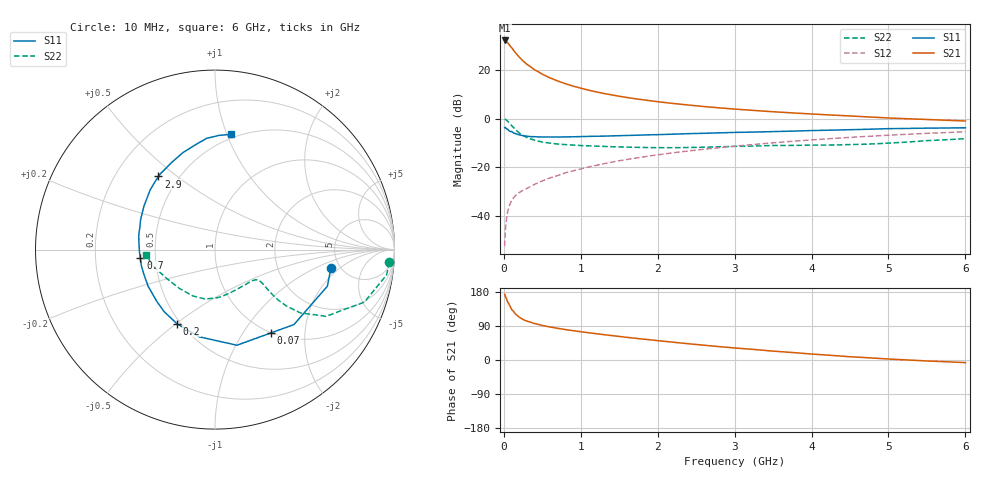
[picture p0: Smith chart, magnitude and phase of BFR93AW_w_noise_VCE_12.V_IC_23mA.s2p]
! (c) 2017  Infineon Technologies AG, Munich
! Infineon Technologies  Discrete & RF Semiconductors
! BFR93AW
! VCE =  12. V,  IC =  23 mA
! Common Emitter S-Parameters:  Jan 2017
# GHz  S  MA  R  50
!  f  S11  S21  S12  S22
! GHz  MAG  ANG  MAG  ANG  MAG  ANG  MAG  ANG
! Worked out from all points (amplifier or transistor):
!   77 points, 10 MHz to 6 GHz, reference 50 ohm
!   highest |S21| = 32.1 dB at 10 MHz (marker M1)
!   |S21| within 3 dB of that: start of sweep to 102.2 MHz
!   unconditionally stable (mu >= 1): 673.8 MHz to 2.094 GHz
!   at 130 MHz: K = 0.45, MSG = 30.2 dB, |S12| = -32.4 dB
!   at 2.2 GHz: K = 0.99, MSG = 10.1 dB, |S12| = -14.0 dB
!   at 6 GHz: K = 0.85, MSG = 2.2 dB, |S12| = -5.4 dB
!   lowest NFmin = 1.60 dB at 450 MHz
!   S11 on the Smith chart (normalised r, x): 10 MHz: 4.21, -1.52; 70 MHz: 1.00, -1.35; 200 MHz: 0.48, -0.50; 700 MHz: 0.41, -0.05; 2.9 GHz: 0.39, +0.43; 6 GHz: 0.47, +1.03
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0.01  0.6543 -9.1  40.26 173.5  0.0024 79.6  0.9739 -4.1
0.02  0.6583 -18.1  39.88 168.3  0.0052 79.4  0.9666 -8.4
0.05  0.6067 -43.5  36.22 152.9  0.0124 71.7  0.883 -19.3
0.07  0.5594 -56.0  32.83 146.3  0.0157 66.7  0.8147 -23.4
0.1  0.5467 -77.1  28.79 133.7  0.0208 62.3  0.7219 -31.0
0.15  0.4936 -100.5  22.67 121.4  0.0262 57.8  0.5941 -36.5
0.2  0.4641 -117.2  18.32 113.1  0.0303 57.3  0.5082 -38.3
0.25  0.447 -129.3  15.29 106.9  0.0339 57.4  0.4499 -38.6
0.3  0.4342 -138.2  13.02 102.6  0.0368 59.0  0.4086 -38.1
0.4  0.4249 -151.2  10.07 96.0  0.0446 61.9  0.3592 -36.8
0.5  0.4195 -160.6  8.155 91.1  0.0525 64.3  0.3303 -35.7
0.6  0.42 -167.6  6.872 87.1  0.0605 65.6  0.3128 -35.1
0.7  0.4185 -173.4  5.92 83.6  0.0677 67.1  0.3008 -34.9
0.9  0.4232 177.5  4.646 77.4  0.0846 67.9  0.2861 -36.0
1.1  0.4313 170.0  3.849 72.0  0.1015 68.6  0.2759 -38.2
1.5  0.4463 158.3  2.878 62.2  0.1363 67.8  0.2617 -45.3
2.1  0.4733 143.6  2.133 49.1  0.1893 64.8  0.2527 -61.2
2.9  0.5148 127.7  1.615 33.6  0.262 58.9  0.2662 -85.2
3.1  0.5235 123.9  1.529 30.2  0.2805 57.1  0.2702 -90.7
4.1  0.5723 107.0  1.22 14.4  0.3746 47.7  0.2855 -118.8
5.1  0.6241 93.0  1.015 1.6  0.4642 37.0  0.3199 -152.5
6  0.6476 82.2  0.893 -6.9  0.5358 26.8  0.3872 -175.5
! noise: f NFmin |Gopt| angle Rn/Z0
0.45  1.6  0.15  166  0.15
0.9  1.88  0.24  177  0.16
1.9  2.89  0.48  -138  0.24
2.4  3.53  0.55  -126  0.48
